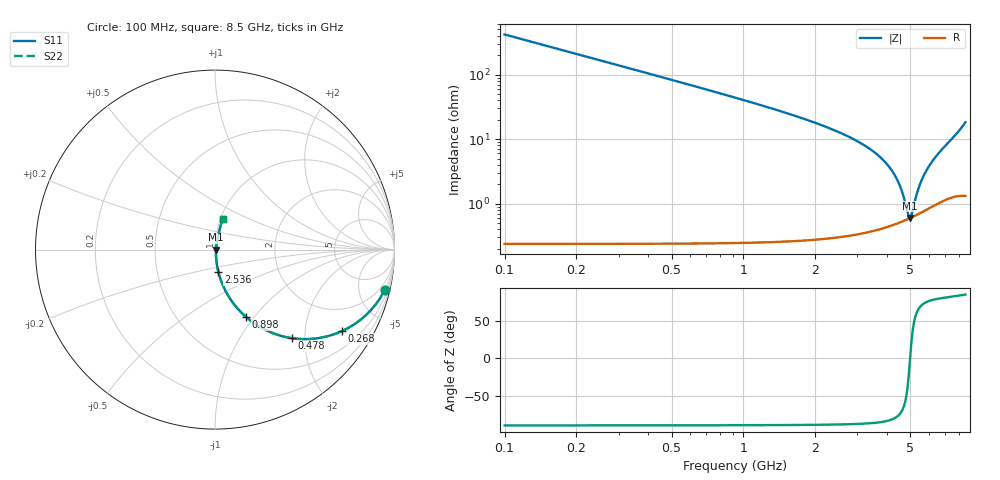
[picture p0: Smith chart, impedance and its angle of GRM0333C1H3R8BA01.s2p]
!Murata Part Number: GRM0333C1H3R8BA01
!These Parameters are Measured in Series Mode Connection
!Data Generated on Mar 30, 2021
!  o--ll--o
!Port1  Port2
!  o------o
!Operation Temp=25[degC], DC Bias Voltage=0[V]
!Freq. Start=100[MHz] Stop=9[GHz] 401[Steps]
# Hz S RI R 50
!Freq.(Hz) S11(Real) S11(Imag) S21(Real) S21(Imag) S12(Real) S12(Imag) S22(Real) S22(Imag)
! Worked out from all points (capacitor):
!   401 points, 100 MHz to 8.5 GHz, reference 50 ohm
!   read as one part in series: C = 3.8 pF near 142 MHz
!   lowest |Z| = 597 mohm at 4.972 GHz (marker M1)
!   series resonance near 4.987 GHz, so ESL is about 270 pH
!   S11 on the Smith chart (normalised r, x): 100 MHz: 1.00, -8.37; 268 MHz: 1.00, -3.12; 478 MHz: 1.00, -1.74; 898 MHz: 1.00, -0.91; 2.536 GHz: 1.01, -0.25; 8.5 GHz: 1.03, +0.36
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1e8  0.9459 -0.2259  0.0541 0.2259  0.0541 0.2259  0.9459 -0.2259
1.84e8  0.8376 -0.3683  0.1624 0.3683  0.1624 0.3683  0.8376 -0.3683
2.68e8  0.7081 -0.4539  0.2919 0.4539  0.2919 0.4539  0.7081 -0.4539
3.52e8  0.5837 -0.4919  0.4163 0.4919  0.4163 0.4919  0.5837 -0.4919
4.78e8  0.4305 -0.4938  0.5695 0.4938  0.5695 0.4938  0.4305 -0.4938
6.67e8  0.2771 -0.4456  0.7229 0.4456  0.7229 0.4456  0.2771 -0.4456
8.98e8  0.1715 -0.3743  0.8285 0.3743  0.8285 0.3743  0.1715 -0.3743
1.507e9  0.0632 -0.2383  0.9368 0.2383  0.9368 0.2383  0.0632 -0.2383
2.536e9  0.0185 -0.1233  0.9815 0.1233  0.9815 0.1233  0.0185 -0.1233
2.914e9  0.0127 -0.0968  0.9873 0.0968  0.9873 0.0968  0.0127 -0.0968
3.754e9  0.00665 -0.0511  0.9933 0.0511  0.9933 0.0511  0.00665 -0.0511
4.3e9  0.00547 -0.027  0.9945 0.027  0.9945 0.027  0.00547 -0.027
4.573e9  0.00543 -0.0159  0.9946 0.0159  0.9946 0.0159  0.00543 -0.0159
4.888e9  0.00576 -0.00375  0.9942 0.00375  0.9942 0.00375  0.00576 -0.00375
4.972e9  0.00591 -0.000572  0.9941 0.000572  0.9941 0.000572  0.00591 -0.000572
5.056e9  0.00609 0.00258  0.9939 -0.00258  0.9939 -0.00258  0.00609 0.00258
5.266e9  0.00665 0.0104  0.9934 -0.0104  0.9934 -0.0104  0.00665 0.0104
5.392e9  0.00706 0.015  0.9929 -0.015  0.9929 -0.015  0.00706 0.015
5.707e9  0.00833 0.0264  0.9917 -0.0264  0.9917 -0.0264  0.00833 0.0264
6.274e9  0.0114 0.0472  0.9886 -0.0472  0.9886 -0.0472  0.0114 0.0472
7.114e9  0.0181 0.0807  0.9819 -0.0807  0.9819 -0.0807  0.0181 0.0807
8.5e9  0.0439 0.1717  0.9561 -0.1717  0.9561 -0.1717  0.0439 0.1717
